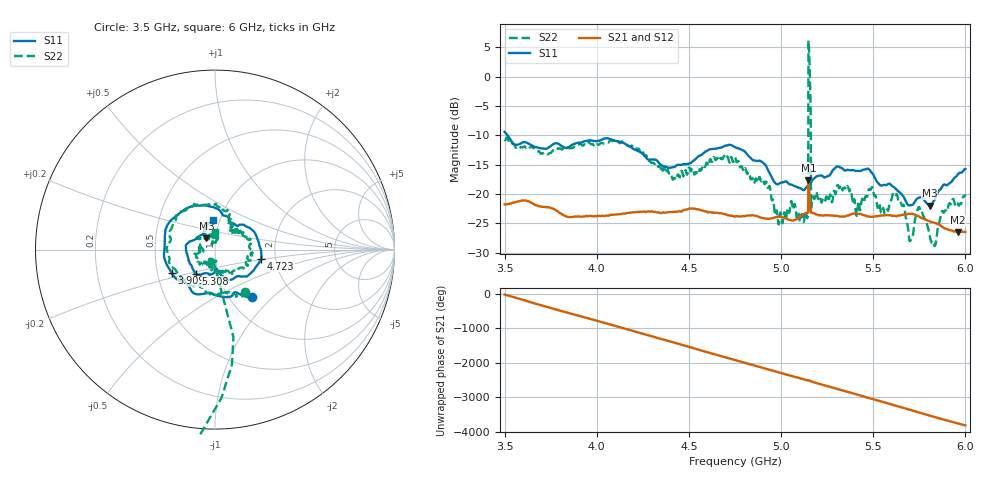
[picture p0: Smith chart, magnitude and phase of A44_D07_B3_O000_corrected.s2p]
! Created with skrf 1.9.0 (http://scikit-rf.org).
# Hz S RI R 50.0
!freq ReS11 ImS11 ReS21 ImS21 ReS12 ImS12 ReS22 ImS22
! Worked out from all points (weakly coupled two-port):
!   1601 points, 3.5 GHz to 6 GHz, reference 50 ohm
!   highest |S21| = -17.65 dB at 5.148 GHz (marker M1); lowest = -26.5 dB at 5.958 GHz (marker M2)
!   lowest |S11| = -22.0 dB at 5.806 GHz (marker M3), VSWR 1.17, Z = 45.1 + j5.76 ohm
!   |S11| at or under -10 dB: 3.516 GHz to end of sweep
!   |S22| runs from -28.9 to 6.1 dB; largest |S21 - S12| = 0.00096
!   S11 on the Smith chart (normalised r, x): 3.5 GHz: 1.27, -0.76; 3.909 GHz: 0.60, -0.17; 4.723 GHz: 1.68, -0.18; 5.308 GHz: 0.78, -0.22; 6 GHz: 0.93, +0.31
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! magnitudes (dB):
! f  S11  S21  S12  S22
! 3.5 GHz  -9.4  -21.8  -21.7  -10.7
! 3.909 GHz  -11.3  -23.8  -23.8  -11.5
! 3.917 GHz  -11.2  -23.9  -23.9  -11.6
! 4.334 GHz  -14.6  -23.1  -23.1  -15.4
! 4.723 GHz  -11.6  -23.7  -23.6  -14.4
! 4.75 GHz  -12.0  -23.9  -23.8  -13.8
! 4.928 GHz  -15.9  -24.2  -24.2  -19.0
! 4.978 GHz  -18.4  -24.0  -23.9  -23.1
! 5.114 GHz  -19.2  -23.6  -23.5  -23.5
! 5.134 GHz  -19.0  -23.3  -23.2  -23.1
! 5.148 GHz  -18.6  -17.6  -17.7  6.1
! 5.161 GHz  -18.1  -22.7  -22.7  -6.1
! 5.167 GHz  -17.7  -23.2  -23.2  -21.5
! 5.175 GHz  -17.5  -23.3  -23.2  -20.5
! 5.308 GHz  -15.3  -23.8  -23.7  -18.5
! 5.584 GHz  -18.3  -23.6  -23.6  -22.4
! 5.622 GHz  -19.1  -23.8  -23.8  -20.2
! 5.705 GHz  -21.9  -23.4  -23.4  -27.9
! 5.753 GHz  -20.6  -23.9  -23.9  -22.5
! 5.806 GHz  -22.0  -24.7  -24.6  -27.0
! 5.958 GHz  -16.7  -26.5  -26.4  -21.7
! 6 GHz  -15.8  -26.5  -26.4  -20.1
